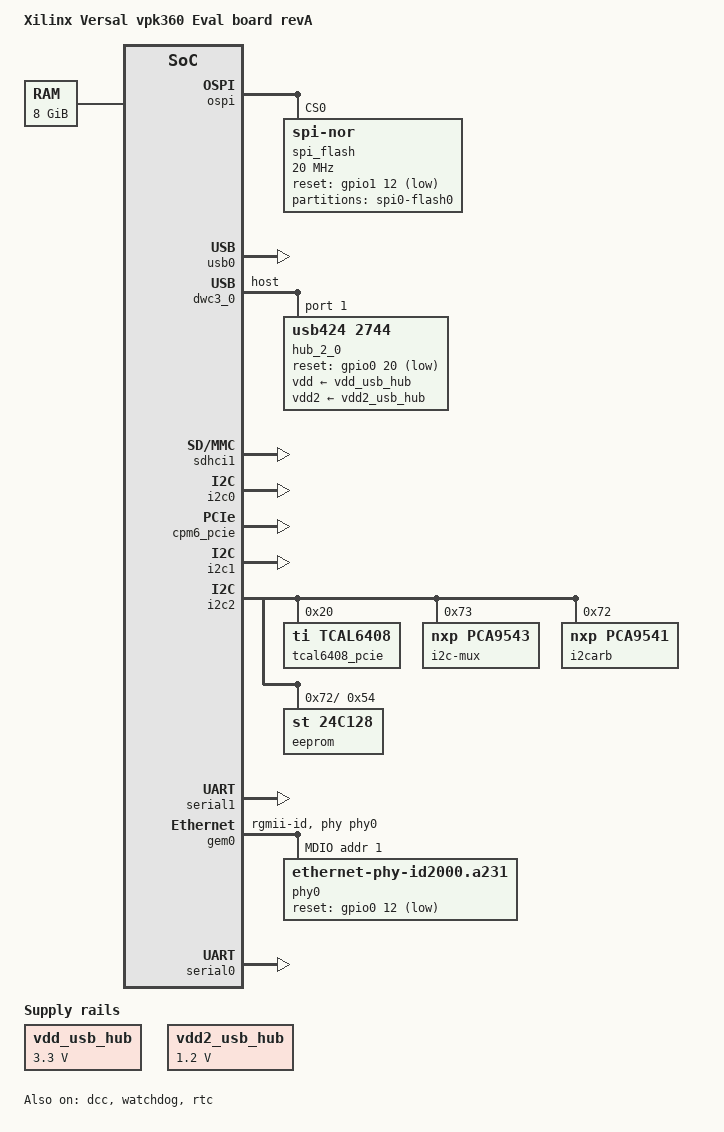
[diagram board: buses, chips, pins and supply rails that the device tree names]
// SPDX-License-Identifier: GPL-2.0
/*
 * dts file for Xilinx Versal VPK360 revA
 *
 * (C) Copyright 2026, Advanced Micro Devices, Inc.
 *
 * Michal Simek <michal.simek@amd.com>
 */

#include <dt-bindings/net/ti-dp83867.h>
#include <dt-bindings/gpio/gpio.h>
#include "versal.dtsi"
#include "versal-clk.dtsi"
#include "versal-xc2vp3602.dtsi"

/ {
	model = "Xilinx Versal vpk360 Eval board revA";
	compatible = "xlnx,versal-vpk360-revA", "xlnx,versal-vpk360",
		     "xlnx,versal";

	memory: memory@0 {
		device_type = "memory";
		reg = <0 0 0 0x80000000>, <0x8 0x00000000 0x1 0x80000000>; /* 2GB + 6GB */
	};

	chosen {
		bootargs = "console=ttyAMA0 earlycon=pl011,mmio32,0xFF000000,115200n8";
		stdout-path = "serial0:115200";
	};

	aliases {
		serial0 = &serial0;
		serial2 = &dcc;
		i2c0 = &i2c0;
		i2c1 = &i2c1;
		i2c2 = &i2c2;
		mmc0 = &sdhci1;
		spi0 = &ospi;
		usb0 = &usb0;
		rtc0 = &rtc;
		nvmem0 = &eeprom;
		ethernet0 = &gem0;
	};

	vdd_usb_hub: regulator-vdd-usb-hub {
		compatible = "regulator-fixed";
		regulator-name = "vdd_usb_hub";
		regulator-min-microvolt = <3300000>;
		regulator-max-microvolt = <3300000>;
		regulator-always-on;
		regulator-boot-on;
	};

	vdd2_usb_hub: regulator-vdd2-usb-hub {
		compatible = "regulator-fixed";
		regulator-name = "vdd2_usb_hub";
		regulator-min-microvolt = <1200000>;
		regulator-max-microvolt = <1200000>;
		regulator-always-on;
		regulator-boot-on;
	};
};

&ospi { /* PMC MIO0-10, 12, u470 MT35XU02G */
	status = "okay";
	bus-num = <2>;
	num-cs = <1>;
	#stream-id-cells = <1>;
	#address-cells = <1>;
	#size-cells = <0>;

	spi_flash: flash@0 {
		compatible = "jedec,spi-nor";
		reg = <0>;
		#address-cells = <1>;
		#size-cells = <1>;
		cdns,read-delay = <0>;
		cdns,tshsl-ns = <0>;
		cdns,tsd2d-ns = <0>;
		cdns,tchsh-ns = <1>;
		cdns,tslch-ns = <1>;
		spi-tx-bus-width = <8>;
		spi-rx-bus-width = <8>;
		spi-max-frequency = <20000000>;
		no-wp;
		reset-gpios = <&gpio1 12 GPIO_ACTIVE_LOW>;
		partitions {
			compatible = "fixed-partitions";
			#address-cells = <1>;
			#size-cells = <1>;

			partition@0 {
				label = "spi0-flash0";
				reg = <0 0x10000000>;
			};
		};
	};
};

&usb0 { /* PMC_MIO13-25 USB 2.0 */
	status = "okay";
};

&dwc3_0 { /* USB 2.0 host */
	status = "okay";
	dr_mode = "host";
	maximum-speed = "high-speed";
	snps,dis_u2_susphy_quirk;
	snps,dis_u3_susphy_quirk;
	snps,usb3_lpm_capable;
	#address-cells = <1>;
	#size-cells = <0>;

	/* 2.0 hub on port 1 */
	hub_2_0: hub@1 { /* u471 */
		compatible = "usb424,2744";
		reg = <1>;
		reset-gpios = <&gpio0 20 GPIO_ACTIVE_LOW>; /* LPD_MIO20 */
		vdd-supply = <&vdd_usb_hub>;
		vdd2-supply = <&vdd2_usb_hub>;
	};
	/* port 0 to U647 - USB MUX - host/peripherals FIXME - control from SC */
	/* port 1 to connector */
};

&sdhci1 { /* PMC_MIO26, 28-34/51 */
	status = "okay";
	xlnx,mio-bank = <1>;
	no-1-8-v;
};

&i2c0 { /* LPD_MIO13/14 */
	status = "okay";
};

/* SYSCTRL - PMC_MIO37 */
#if 0
&i2cX { /* PMC_MIO38/39 - PCIe */
	status = "okay";
};
#endif

/* PCIE GPIO PMC_MIO40/41 */
&cpm6_pcie {
	status = "okay";
	pcie@0,0 {
		device_type = "pci";
		reg = <0x0 0x0 0x0 0x0 0x0>;
		reset-gpios = <&gpio1 40 GPIO_ACTIVE_LOW>;
		#address-cells = <3>;
		#size-cells = <2>;
		ranges;
	};
};

&i2c1 { /* PMC_MIO42/43 - FMC_MUX */
	status = "okay";
};

&i2c2 { /* PMC_MIO44/45 - PCIe RP */
	status = "okay";

	tcal6408_pcie: gpio@20 { /* u622 */
		compatible = "ti,tcal6408";
		reg = <0x20>;
		gpio-controller; /* IRQ not connected */
		#gpio-cells = <2>;
		gpio-line-names = "pcie_rp_clkreq", "pcie_rp_wake",
				  "pcie_rp_pwrbrk", "pcie_rp_prsnt2",
				  "pcie_ep_clkreq", "pcie_ep_wake",
				  "pcie_ep_pwrbrk", "";
	};

	/* u671 tcal6408@21 */
	/* u685 pca9848@71 */

	i2c-mux@73 { /* u626 */
		compatible = "nxp,pca9543";
		#address-cells = <1>;
		#size-cells = <0>;
		reg = <0x73>;

		rc31312_i2c: i2c@0 {
			#address-cells = <1>;
			#size-cells = <0>;
			reg = <0>;
			/* rc31312 - u637 */
			/* rc19004a - u640 */
		};

	};

	i2carb: i2c-arbitrator@72 { /* u704 */
		compatible = "nxp,pca9541";
		reg = <0x72>;

		i2carb1: i2c-arb {
			#address-cells = <1>;
			#size-cells = <0>;

			/* Use for storing information about board */
			eeprom: eeprom@54 { /* u669 - m24128 16kB */
				compatible = "st,24c128", "atmel,24c128";
				reg = <0x54>; /* & 0x5c */
			};
		};
	};
};

&serial1 { /* PMC_MIO46/47 */
	status = "okay";
};

/* PB_SW - PMC_MIO50 */

&gem0 { /* LPD_MIO0-12, 24/25 */
	status = "okay";
	phy-handle = <&phy0>;
	phy-mode = "rgmii-id";

	mdio: mdio {
		#address-cells = <1>;
		#size-cells = <0>;

		phy0: ethernet-phy@1 { /* u481 - DP83867 */
			reg = <1>;
			compatible = "ethernet-phy-id2000.a231";
			ti,rx-internal-delay = <DP83867_RGMIIDCTL_2_25_NS>;
			ti,tx-internal-delay = <DP83867_RGMIIDCTL_2_75_NS>;
			ti,fifo-depth = <DP83867_PHYCR_FIFO_DEPTH_4_B_NIB>;
			ti,dp83867-rxctrl-strap-quirk;
			reset-assert-us = <100>;
			reset-deassert-us = <280>;
			reset-gpios = <&gpio0 12 GPIO_ACTIVE_LOW>;
		};
	};
};

/* LPD_MIO15 - SC SMON ALERT */

&serial0 { /* LPD_MIO16/17 */
	status = "okay";
};

/* LPD_MIO18/19 - PCIE_EP_PERST */
/* LPD_MIO21 - pca9641 init - u625 */
/* LPD_MIO22/23 - FAN_PWM */

&gpio0 {
	status = "okay";
};

&gpio1 {
	status = "okay";
};

&dcc {
	status = "okay";
};

&watchdog {
	status = "okay";
};

&lpd_dma_chan0 {
	status = "okay";
};

&lpd_dma_chan1 {
	status = "okay";
};

&lpd_dma_chan2 {
	status = "okay";
};

&lpd_dma_chan3 {
	status = "okay";
};

&lpd_dma_chan4 {
	status = "okay";
};

&lpd_dma_chan5 {
	status = "okay";
};

&lpd_dma_chan6 {
	status = "okay";
};

&lpd_dma_chan7 {
	status = "okay";
};

&rtc {
	status = "okay";
};
